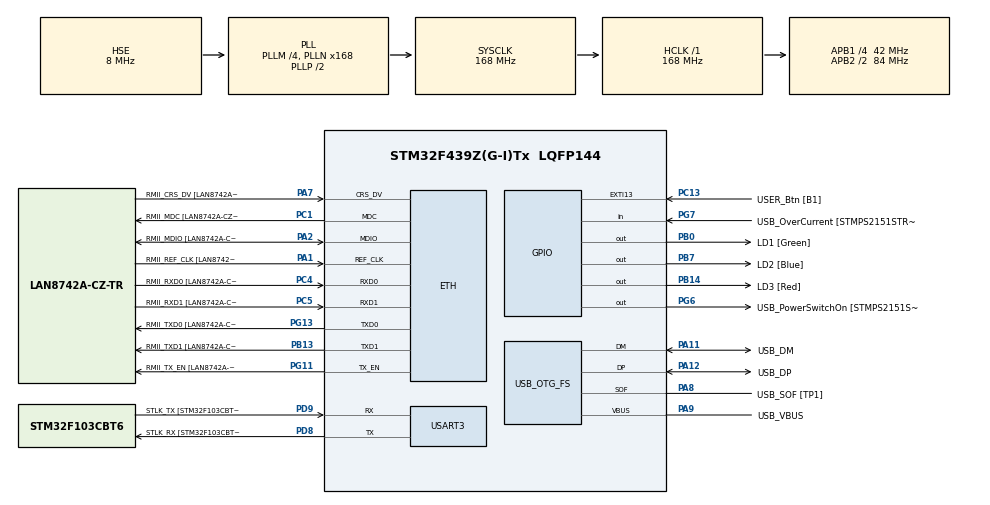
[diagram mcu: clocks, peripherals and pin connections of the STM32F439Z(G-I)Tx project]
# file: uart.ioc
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ETH.MediaInterface=HAL_ETH_RMII_MODE
ETH.PHY_Name=LAN8742A_PHY_ADDRESS
ETH.PHY_Value=0
ETH.PhyAddress=0
Mcu.Family=STM32F4
Mcu.Name=STM32F439Z(G-I)Tx
Mcu.Package=LQFP144
NVIC.PriorityGroup=NVIC_PRIORITYGROUP_4
NVIC.USART3_IRQn=true\:0\:0\:false\:false\:true\:true\:true\:true
PA1.GPIO_Label=RMII_REF_CLK [LAN8742A-CZ-TR_REFCLK0]
PA1.Mode=RMII
PA1.Signal=ETH_REF_CLK
PA10.GPIO_Label=USB_ID
PA10.Signal=USB_OTG_FS_ID
PA11.GPIO_Label=USB_DM
PA11.Mode=Device_Only
PA11.Signal=USB_OTG_FS_DM
PA12.GPIO_Label=USB_DP
PA12.Mode=Device_Only
PA12.Signal=USB_OTG_FS_DP
PA13.GPIO_Label=TMS
PA13.Mode=Serial_Wire
PA13.Signal=SYS_JTMS-SWDIO
PA14.GPIO_Label=TCK
PA14.Mode=Serial_Wire
PA14.Signal=SYS_JTCK-SWCLK
PA2.GPIO_Label=RMII_MDIO [LAN8742A-CZ-TR_MDIO]
PA2.Mode=RMII
PA2.Signal=ETH_MDIO
PA7.GPIO_Label=RMII_CRS_DV [LAN8742A-CZ-TR_CRS_DV]
PA7.Mode=RMII
PA7.Signal=ETH_CRS_DV
PA8.GPIO_Label=USB_SOF [TP1]
PA8.Mode=Activate_SOF_FS
PA8.Signal=USB_OTG_FS_SOF
PA9.GPIO_Label=USB_VBUS
PA9.Mode=Activate_VBUS
PA9.Signal=USB_OTG_FS_VBUS
PB0.GPIO_Label=LD1 [Green]
PB0.Signal=GPIO_Output
PB13.GPIO_Label=RMII_TXD1 [LAN8742A-CZ-TR_TXD1]
PB13.Mode=RMII
PB13.Signal=ETH_TXD1
PB14.GPIO_Label=LD3 [Red]
PB14.Signal=GPIO_Output
PB7.GPIO_Label=LD2 [Blue]
PB7.Signal=GPIO_Output
PC1.GPIO_Label=RMII_MDC [LAN8742A-CZ-TR_MDC]
PC1.Mode=RMII
PC1.Signal=ETH_MDC
PC13.GPIO_Label=USER_Btn [B1]
PC13.Signal=GPXTI13
PC14/OSC32_IN.Mode=LSE-External-Oscillator
PC14/OSC32_IN.Signal=RCC_OSC32_IN
PC15/OSC32_OUT.Mode=LSE-External-Oscillator
PC15/OSC32_OUT.Signal=RCC_OSC32_OUT
PC4.GPIO_Label=RMII_RXD0 [LAN8742A-CZ-TR_RXD0]
PC4.Mode=RMII
PC4.Signal=ETH_RXD0
PC5.GPIO_Label=RMII_RXD1 [LAN8742A-CZ-TR_RXD1]
PC5.Mode=RMII
PC5.Signal=ETH_RXD1
PD8.GPIO_Label=STLK_RX [STM32F103CBT6_PA3]
PD8.Mode=Asynchronous
PD8.Signal=USART3_TX
PD9.GPIO_Label=STLK_TX [STM32F103CBT6_PA2]
PD9.Mode=Asynchronous
PD9.Signal=USART3_RX
PG11.GPIO_Label=RMII_TX_EN [LAN8742A-CZ-TR_TXEN]
PG11.Mode=RMII
PG11.Signal=ETH_TX_EN
PG13.GPIO_Label=RMII_TXD0 [LAN8742A-CZ-TR_TXD0]
PG13.Mode=RMII
PG13.Signal=ETH_TXD0
PG6.GPIO_Label=USB_PowerSwitchOn [STMPS2151STR_EN]
PG6.Signal=GPIO_Output
PG7.GPIO_Label=USB_OverCurrent [STMPS2151STR_FAULT]
PG7.Signal=GPIO_Input
PH0/OSC_IN.GPIO_Label=MCO [STM32F103CBT6_PA8]
PH0/OSC_IN.Mode=HSE-External-Clock-Source
PH0/OSC_IN.Signal=RCC_OSC_IN
PH1/OSC_OUT.Mode=HSE-External-Clock-Source
PH1/OSC_OUT.Signal=RCC_OSC_OUT
ProjectManager.HeapSize=0x200
ProjectManager.StackSize=0x400
ProjectManager.TargetToolchain=STM32CubeIDE
RCC.48MHZClocksFreq_Value=48000000
RCC.AHBFreq_Value=168000000
RCC.APB1CLKDivider=RCC_HCLK_DIV4
RCC.APB1Freq_Value=42000000
RCC.APB1TimFreq_Value=84000000
RCC.APB2CLKDivider=RCC_HCLK_DIV2
RCC.APB2Freq_Value=84000000
RCC.APB2TimCLKDivider=2
RCC.APB2TimFreq_Value=168000000
RCC.CortexFreq_Value=168000000
RCC.HCLKFreq_Value=168000000
RCC.HSE_VALUE=8000000
RCC.HSI_VALUE=16000000
RCC.PLLM=4
RCC.PLLMUL=RCC_PLL_MUL9
RCC.PLLN=168
RCC.PLLQ=7
RCC.PRESCALERUSB=RCC_USBCLKSOURCE_PLL_DIV1_5
RCC.SYSCLKFreq_VALUE=168000000
RCC.SYSCLKSource=RCC_SYSCLKSOURCE_PLLCLK
RCC.SYSCLKSourceVirtual=RCC_SYSCLKSOURCE_PLLCLK
RCC.USBFreq_Value=48000000
RCC.VCOOutputFreq_Value=336000000
USART3.VirtualMode=VM_ASYNC
USB_OTG_FS.VirtualMode=Device_Only
board=NUCLEO-F439ZI

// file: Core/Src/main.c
/* USER CODE BEGIN Header */
/**
  ******************************************************************************
  * @file           : main.c
  * @brief          : Main program body
  ******************************************************************************
  * @attention
  *
  * Copyright (c) 2026 STMicroelectronics.
  * All rights reserved.
  *
  * This software is licensed under terms that can be found in the LICENSE file
  * in the root directory of this software component.
  * If no LICENSE file comes with this software, it is provided AS-IS.
  *
  ******************************************************************************
  */
/* USER CODE END Header */
#include "main.h"
#include "string.h"

/* USER CODE BEGIN Includes */
#include "uart_receiver.h"
#include "uart_sender.h"
#include "protocol.h"
#include "track.h"
#include <math.h>
#include <stdio.h>
/* USER CODE END Includes */

ETH_TxPacketConfig TxConfig;
ETH_DMADescTypeDef  DMARxDscrTab[ETH_RX_DESC_CNT]; /* Ethernet Rx DMA Descriptors */
ETH_DMADescTypeDef  DMATxDscrTab[ETH_TX_DESC_CNT]; /* Ethernet Tx DMA Descriptors */

ETH_HandleTypeDef heth;

UART_HandleTypeDef huart3;

PCD_HandleTypeDef hpcd_USB_OTG_FS;

/* USER CODE BEGIN PV */
static float left_target = 0.0f;
static float right_target = 0.0f;
static uint32_t last_person_ms = 0;
static bool tracking_active = false;
char message[160];
/* USER CODE END PV */

void SystemClock_Config(void);
static void MX_GPIO_Init(void);
static void MX_ETH_Init(void);
static void MX_USART3_UART_Init(void);
static void MX_USB_OTG_FS_PCD_Init(void);

/* USER CODE BEGIN 0 */

/* 尚未接追蹤算法，預設計算失敗 */
static bool Calculate_WheelTarget(
    const PersonPosition *person,
    float *left,
    float *right
)
{
    (void)person;

    *left = 0.0f;
    *right = 0.0f;

    /*
     * 在這裡接你的算法。
     * 成功：設定 *left、*right，回傳 true。
     * 失敗：回傳 false。
     */
    return false;
}

static void Apply_WheelTarget(float left, float right)
{
    (void)left;
    (void)right;

    /*
     * 在這裡接實際的馬達控制函式。
     * left、right 都為 0 時，執行馬達停止。
     *
     * 目前此函式尚未操作硬體。
     */
}

static void Send_WheelTarget(float left, float right)
{
    char reply[160];

    size_t length = Protocol_EncodeWheelTarget(
        reply,
        sizeof(reply),
        left,
        right
    );

    if (length > 0)
    {
        UART_Sender_Send(reply);
    }
}

/* USER CODE END 0 */

int main(void)
{

  /* MCU Configuration--------------------------------------------------------*/

  /* Reset of all peripherals, Initializes the Flash interface and the Systick. */
  HAL_Init();

  /* Configure the system clock */
  SystemClock_Config();

  /* Initialize all configured peripherals */
  MX_GPIO_Init();
  MX_ETH_Init();
  MX_USART3_UART_Init();
  MX_USB_OTG_FS_PCD_Init();

  /* USER CODE BEGIN 2 */
  UART_Sender_Init(&huart3);
  Track_Clear();

  if (UART_Receiver_Start(&huart3) != HAL_OK)
  {
      Error_Handler();
  }

  uint32_t last_track_ms = HAL_GetTick();
  /* USER CODE END 2 */

  /* Infinite loop */
  /* USER CODE BEGIN WHILE */

  while (1)
  {
      // 1. 處理 UART 接收
      UART_Receiver_Process();

      RobotCommand rx_command;

      if (UART_Receiver_TakeCommand(&rx_command))
      {
          if (rx_command.type == COMMAND_PERSON_POSITION)
          {
              // 將 XYZ 傳給 track.c
              Track_SetPosition(
                  rx_command.person.x,
                  rx_command.person.y,
                  rx_command.person.z
              );
          }
          else
          {
              // STOP 或 PERSON_LOST
              Track_Clear();
          }
      }

      // 2. 每 20 ms 執行追蹤演算法
      uint32_t now = HAL_GetTick();
      uint32_t elapsed = now - last_track_ms;

      if (elapsed >= 20U)
      {
          last_track_ms = now;

          float dt = elapsed / 1000.0f;

          // 計算追蹤指令
          Track_Update(dt);

          // 取得線速度與角速度
          TrackCommand result = Track_GetCommand();

          float v = result.linear_vel;
          float w = result.angular_vel;

          // 3. 將 v、w 封裝為 JSON
          char reply[160];

          int length = snprintf(
              reply,
              sizeof(reply),
              "{\"cmd\":\"cmd_vel\",\"data\":{\"v\":%.4f,\"w\":%.4f}}\n",
              (double)v,
              (double)w
          );

          // 4. 經 UART 回傳 Python Bridge
          if (length > 0 && length < (int)sizeof(reply))
          {
              UART_Sender_Send(reply);
          }
      }
  }

}
  /* USER CODE END 3 */

void SystemClock_Config(void)
{
  RCC_OscInitTypeDef RCC_OscInitStruct = {0};
  RCC_ClkInitTypeDef RCC_ClkInitStruct = {0};

  /** Configure the main internal regulator output voltage
  */
  __HAL_RCC_PWR_CLK_ENABLE();
  __HAL_PWR_VOLTAGESCALING_CONFIG(PWR_REGULATOR_VOLTAGE_SCALE1);

  /** Initializes the RCC Oscillators according to the specified parameters
  * in the RCC_OscInitTypeDef structure.
  */
  RCC_OscInitStruct.OscillatorType = RCC_OSCILLATORTYPE_HSE;
  RCC_OscInitStruct.HSEState = RCC_HSE_BYPASS;
  RCC_OscInitStruct.PLL.PLLState = RCC_PLL_ON;
  RCC_OscInitStruct.PLL.PLLSource = RCC_PLLSOURCE_HSE;
  RCC_OscInitStruct.PLL.PLLM = 4;
  RCC_OscInitStruct.PLL.PLLN = 168;
  RCC_OscInitStruct.PLL.PLLP = RCC_PLLP_DIV2;
  RCC_OscInitStruct.PLL.PLLQ = 7;
  if (HAL_RCC_OscConfig(&RCC_OscInitStruct) != HAL_OK)
  {
    Error_Handler();
  }

  /** Initializes the CPU, AHB and APB buses clocks
  */
  RCC_ClkInitStruct.ClockType = RCC_CLOCKTYPE_HCLK|RCC_CLOCKTYPE_SYSCLK
                              |RCC_CLOCKTYPE_PCLK1|RCC_CLOCKTYPE_PCLK2;
  RCC_ClkInitStruct.SYSCLKSource = RCC_SYSCLKSOURCE_PLLCLK;
  RCC_ClkInitStruct.AHBCLKDivider = RCC_SYSCLK_DIV1;
  RCC_ClkInitStruct.APB1CLKDivider = RCC_HCLK_DIV4;
  RCC_ClkInitStruct.APB2CLKDivider = RCC_HCLK_DIV2;

  if (HAL_RCC_ClockConfig(&RCC_ClkInitStruct, FLASH_LATENCY_5) != HAL_OK)
  {
    Error_Handler();
  }
}

static void MX_ETH_Init(void)
{

   static uint8_t MACAddr[6];

  heth.Instance = ETH;
  MACAddr[0] = 0x00;
  MACAddr[1] = 0x80;
  MACAddr[2] = 0xE1;
  MACAddr[3] = 0x00;
  MACAddr[4] = 0x00;
  MACAddr[5] = 0x00;
  heth.Init.MACAddr = &MACAddr[0];
  heth.Init.MediaInterface = HAL_ETH_RMII_MODE;
  heth.Init.TxDesc = DMATxDscrTab;
  heth.Init.RxDesc = DMARxDscrTab;
  heth.Init.RxBuffLen = 1524;

  if (HAL_ETH_Init(&heth) != HAL_OK)
  {
    Error_Handler();
  }

  memset(&TxConfig, 0 , sizeof(ETH_TxPacketConfig));
  TxConfig.Attributes = ETH_TX_PACKETS_FEATURES_CSUM | ETH_TX_PACKETS_FEATURES_CRCPAD;
  TxConfig.ChecksumCtrl = ETH_CHECKSUM_IPHDR_PAYLOAD_INSERT_PHDR_CALC;
  TxConfig.CRCPadCtrl = ETH_CRC_PAD_INSERT;

}

static void MX_USART3_UART_Init(void)
{

  huart3.Instance = USART3;
  huart3.Init.BaudRate = 115200;
  huart3.Init.WordLength = UART_WORDLENGTH_8B;
  huart3.Init.StopBits = UART_STOPBITS_1;
  huart3.Init.Parity = UART_PARITY_NONE;
  huart3.Init.Mode = UART_MODE_TX_RX;
  huart3.Init.HwFlowCtl = UART_HWCONTROL_NONE;
  huart3.Init.OverSampling = UART_OVERSAMPLING_16;
  if (HAL_UART_Init(&huart3) != HAL_OK)
  {
    Error_Handler();
  }

}

static void MX_USB_OTG_FS_PCD_Init(void)
{

  hpcd_USB_OTG_FS.Instance = USB_OTG_FS;
  hpcd_USB_OTG_FS.Init.dev_endpoints = 4;
  hpcd_USB_OTG_FS.Init.speed = PCD_SPEED_FULL;
  hpcd_USB_OTG_FS.Init.dma_enable = DISABLE;
  hpcd_USB_OTG_FS.Init.phy_itface = PCD_PHY_EMBEDDED;
  hpcd_USB_OTG_FS.Init.Sof_enable = ENABLE;
  hpcd_USB_OTG_FS.Init.low_power_enable = DISABLE;
  hpcd_USB_OTG_FS.Init.lpm_enable = DISABLE;
  hpcd_USB_OTG_FS.Init.vbus_sensing_enable = ENABLE;
  hpcd_USB_OTG_FS.Init.use_dedicated_ep1 = DISABLE;
  if (HAL_PCD_Init(&hpcd_USB_OTG_FS) != HAL_OK)
  {
    Error_Handler();
  }

}

static void MX_GPIO_Init(void)
{
  GPIO_InitTypeDef GPIO_InitStruct = {0};

  /* GPIO Ports Clock Enable */
  __HAL_RCC_GPIOC_CLK_ENABLE();
  __HAL_RCC_GPIOH_CLK_ENABLE();
  __HAL_RCC_GPIOA_CLK_ENABLE();
  __HAL_RCC_GPIOB_CLK_ENABLE();
  __HAL_RCC_GPIOD_CLK_ENABLE();
  __HAL_RCC_GPIOG_CLK_ENABLE();

  /*Configure GPIO pin Output Level */
  HAL_GPIO_WritePin(GPIOB, LD1_Pin|LD3_Pin|LD2_Pin, GPIO_PIN_RESET);

  /*Configure GPIO pin Output Level */
  HAL_GPIO_WritePin(USB_PowerSwitchOn_GPIO_Port, USB_PowerSwitchOn_Pin, GPIO_PIN_RESET);

  /*Configure GPIO pin : USER_Btn_Pin */
  GPIO_InitStruct.Pin = USER_Btn_Pin;
  GPIO_InitStruct.Mode = GPIO_MODE_IT_RISING;
  GPIO_InitStruct.Pull = GPIO_NOPULL;
  HAL_GPIO_Init(USER_Btn_GPIO_Port, &GPIO_InitStruct);

  /*Configure GPIO pins : LD1_Pin LD3_Pin LD2_Pin */
  GPIO_InitStruct.Pin = LD1_Pin|LD3_Pin|LD2_Pin;
  GPIO_InitStruct.Mode = GPIO_MODE_OUTPUT_PP;
  GPIO_InitStruct.Pull = GPIO_NOPULL;
  GPIO_InitStruct.Speed = GPIO_SPEED_FREQ_LOW;
  HAL_GPIO_Init(GPIOB, &GPIO_InitStruct);

  /*Configure GPIO pin : USB_PowerSwitchOn_Pin */
  GPIO_InitStruct.Pin = USB_PowerSwitchOn_Pin;
  GPIO_InitStruct.Mode = GPIO_MODE_OUTPUT_PP;
  GPIO_InitStruct.Pull = GPIO_NOPULL;
  GPIO_InitStruct.Speed = GPIO_SPEED_FREQ_LOW;
  HAL_GPIO_Init(USB_PowerSwitchOn_GPIO_Port, &GPIO_InitStruct);

  /*Configure GPIO pin : USB_OverCurrent_Pin */
  GPIO_InitStruct.Pin = USB_OverCurrent_Pin;
  GPIO_InitStruct.Mode = GPIO_MODE_INPUT;
  GPIO_InitStruct.Pull = GPIO_NOPULL;
  HAL_GPIO_Init(USB_OverCurrent_GPIO_Port, &GPIO_InitStruct);

}

/* USER CODE BEGIN 4 */
void HAL_UART_RxCpltCallback(UART_HandleTypeDef *huart)
{
    UART_Receiver_RxCallback(huart);
}

/* USER CODE END 4 */

void Error_Handler(void)
{
  __disable_irq();
  while (1)
  {
  }
}
